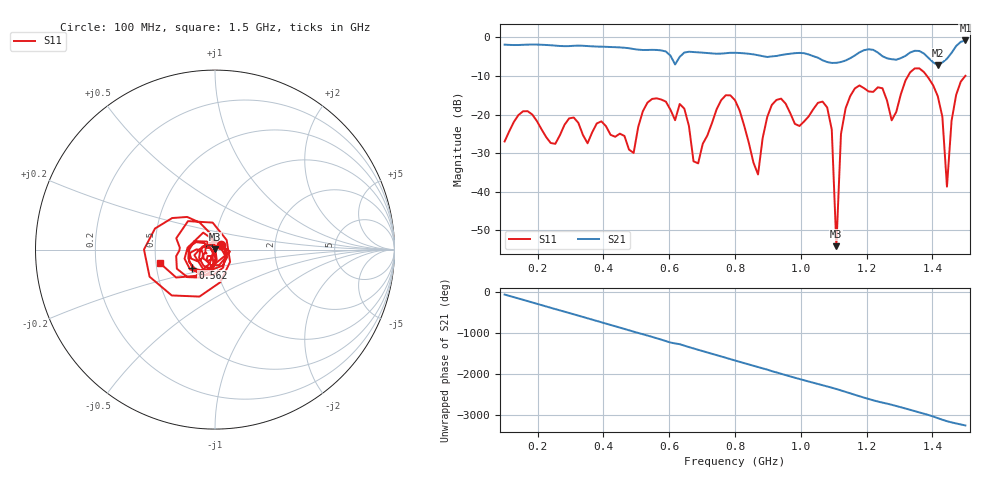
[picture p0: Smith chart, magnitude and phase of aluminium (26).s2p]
! NanoVNA-App
! Date: 2025-09-26 09:58:16
! Start: 100MHz Stop: 1,5GHz Points: 101
! S-Parameter data: F S11 S21 S12 S22
# Hz S RI R 50
!  Frequency  S11_Real  S11_Imag  S21_Real  S21_Imag  S12_Real  S12_Imag  S22_Real  S22_Imag
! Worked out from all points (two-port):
!   101 points, 100 MHz to 1.5 GHz, reference 50 ohm
!   highest |S21| = -0.83 dB at 1.5 GHz (marker M1); lowest = -7.3 dB at 1.416 GHz (marker M2)
!   |S21| within 3 dB of the highest: start of sweep to 591.8 MHz; 1.18 GHz to 1.231 GHz (51.3 MHz wide, 4.25 % of centre) (the widest 2 of 5)
!   lowest |S11| = -54.1 dB at 1.108 GHz (marker M3), VSWR 1.00, Z = 50.2 + j0.109 ohm
!   |S11| at or under -10 dB: start of sweep to 1.326 GHz; 1.383 GHz to 1.5 GHz (116.9 MHz wide, 8.11 % of centre)
!   S12 and S22 are empty: the file has one direction only
!   S11 on the Smith chart (normalised r, x): 100 MHz: 1.07, +0.06; 562 MHz: 0.76, -0.16; 1.5 GHz: 0.52, -0.09
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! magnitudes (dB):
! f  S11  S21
! 100 MHz  -27.0  -1.9
! 156 MHz  -19.2  -2.0
! 338 MHz  -25.3  -2.2
! 492 MHz  -29.9  -3.1
! 562 MHz  -15.8  -3.3
! 576 MHz  -16.1  -3.4
! 646 MHz  -18.5  -4.0
! 688 MHz  -32.6  -3.9
! 800 MHz  -16.3  -4.0
! 870 MHz  -35.5  -4.7
! 912 MHz  -17.5  -5.0
! 1.038 GHz  -18.6  -4.9
! 1.094 GHz  -23.9  -6.7
! 1.108 GHz  -54.1  -6.6
! 1.122 GHz  -25.0  -6.4
! 1.15 GHz  -15.2  -5.4
! 1.276 GHz  -21.5  -5.7
! 1.346 GHz  -8.1  -3.5
! 1.416 GHz  -15.2  -7.3
! 1.444 GHz  -38.7  -5.6
! 1.458 GHz  -21.6  -4.0
! 1.5 GHz  -10.0  -0.8
